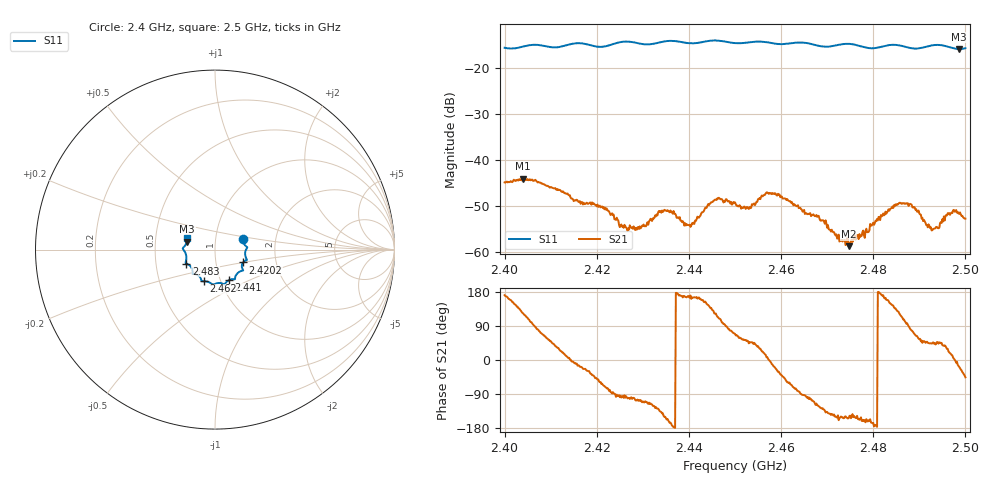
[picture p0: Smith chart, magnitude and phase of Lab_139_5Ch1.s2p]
# Hz S RI R 50
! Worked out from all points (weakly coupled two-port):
!   601 points, 2.4 GHz to 2.5 GHz, reference 50 ohm
!   highest |S21| = -44.03 dB at 2.404 GHz (marker M1); lowest = -58.7 dB at 2.4747 GHz (marker M2)
!   lowest |S11| = -15.8 dB at 2.4987 GHz (marker M3), VSWR 1.39, Z = 36.4 + j3.28 ohm
!   |S11| at or under -10 dB: start of sweep to end of sweep
!   S12 and S22 are empty: the file has one direction only
!   S11 on the Smith chart (normalised r, x): 2.4 GHz: 1.36, +0.17; 2.4202 GHz: 1.35, -0.20; 2.441 GHz: 1.09, -0.39; 2.462 GHz: 0.83, -0.30; 2.483 GHz: 0.72, -0.12; 2.5 GHz: 0.73, +0.09
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2.4e9  0.156 0.0602  -0.00565 0.00089  0 0  0 0
2.404e9  0.1712 0.02  -0.00346 0.00526  0 0  0 0
2.416667e9  0.1776 -0.0583  0.00331 -0.0011  0 0  0 0
2.420167e9  0.1561 -0.0719  0.00205 -0.00257  0 0  0 0
2.426833e9  0.1563 -0.1168  -0.000317 -0.00178  0 0  0 0
2.430667e9  0.1283 -0.1292  -0.000669 -0.00178  0 0  0 0
2.433333e9  0.1129 -0.1524  -0.00169 -0.00212  0 0  0 0
2.441e9  0.0768 -0.1706  -0.00202 0.000541  0 0  0 0
2.446e9  0.0517 -0.1938  -0.00172 0.00326  0 0  0 0
2.45e9  0.0267 -0.1861  0.00125 0.00324  0 0  0 0
2.453e9  -0.000232 -0.1917  0.00212 0.00204  0 0  0 0
2.457167e9  -0.0195 -0.1903  0.00436 0.000247  0 0  0 0
2.462e9  -0.0619 -0.1761  0.00157 -0.00321  0 0  0 0
2.466667e9  -0.0766 -0.1668  -0.000734 -0.00241  0 0  0 0
2.474667e9  -0.1252 -0.1356  -0.00103 -0.000519  0 0  0 0
2.483e9  -0.1594 -0.078  -0.00251 0.000988  0 0  0 0
2.483333e9  -0.161 -0.0773  -0.00266 0.0012  0 0  0 0
2.487833e9  -0.1596 -0.0499  0.000192 0.00328  0 0  0 0
2.492833e9  -0.1778 0.00242  0.00125 0.0012  0 0  0 0
2.496167e9  -0.1713 0.0168  0.00231 0.00129  0 0  0 0
2.498667e9  -0.156 0.0439  0.00247 -0.000828  0 0  0 0
2.5e9  -0.1533 0.0625  0.00161 -0.00165  0 0  0 0
